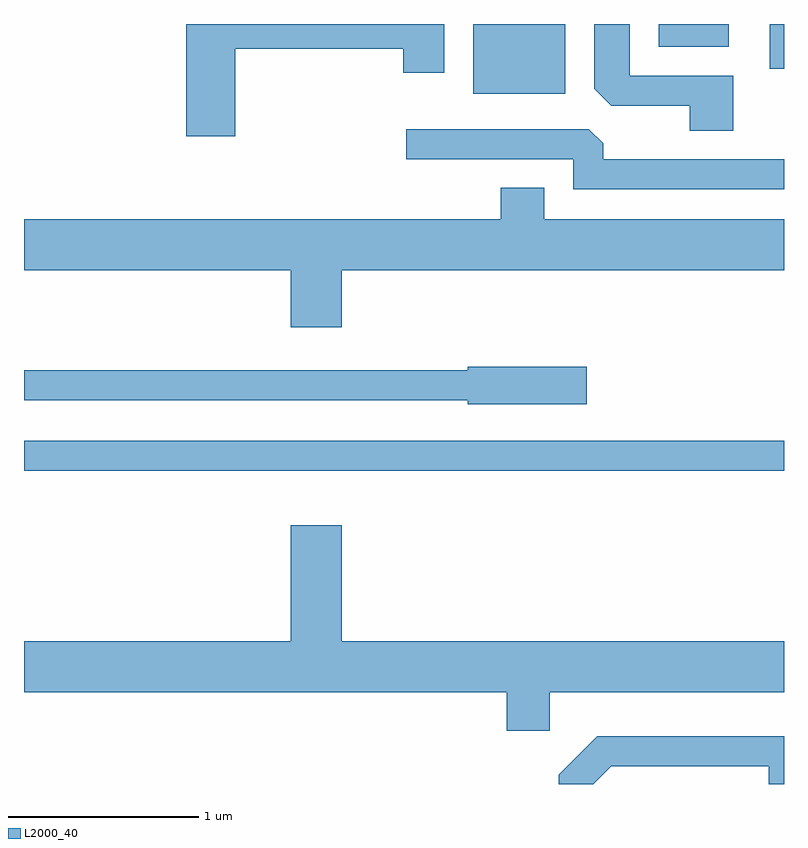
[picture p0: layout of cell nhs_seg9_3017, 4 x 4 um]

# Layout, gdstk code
import gdstk
lib = gdstk.Library(unit=1e-6, precision=1e-09)
def R(c, l, rs):  # rectangles x0, y0, x1, y1
    for r in rs: c.add(gdstk.rectangle(r[:2], r[2:], *l))
def P(c, l, *ps):  # polygons
    for p in ps: c.add(gdstk.Polygon(p, *l))
L2000_40 = (2000, 40)

nhs_seg9_3017 = lib.new_cell('nhs_seg9_3017')
R(nhs_seg9_3017, L2000_40, [(273.611,2004.081,277.611,2004.239), (275.976,2006.066,276.459,2006.432), (277.536,2006.196,277.611,2006.432), (276.951,2006.311,277.319,2006.432)])
P(nhs_seg9_3017, L2000_40, [(277.344,2006.159),(276.799,2006.159),(276.799,2006.432),(276.611,2006.432),(276.611,2006.092),(276.702,2006.001),(277.116,2006.001),(277.116,2005.871),(277.344,2005.871)],
  [(274.724,2006.301),(275.606,2006.301),(275.606,2006.176),(275.824,2006.176),(275.824,2006.432),(274.466,2006.432),(274.466,2005.841),(274.724,2005.841)],
  [(277.611,2005.719),(276.659,2005.719),(276.659,2005.804),(276.584,2005.879),(275.623,2005.879),(275.623,2005.721),(276.501,2005.721),(276.501,2005.561),(277.611,2005.561)],
  [(275.284,2005.136),(277.611,2005.136),(277.611,2005.404),(276.349,2005.404),(276.349,2005.569),(276.121,2005.569),(276.121,2005.404),(273.611,2005.404),(273.611,2005.136),(275.016,2005.136),(275.016,2004.836),(275.284,2004.836)],
  [(276.574,2004.629),(275.946,2004.629),(275.946,2004.609),(273.611,2004.609),(273.611,2004.451),(275.946,2004.451),(275.946,2004.431),(276.574,2004.431)],
  [(276.379,2002.916),(277.611,2002.916),(277.611,2003.184),(275.284,2003.184),(275.284,2003.794),(275.016,2003.794),(275.016,2003.184),(273.611,2003.184),(273.611,2002.916),(276.151,2002.916),(276.151,2002.711),(276.379,2002.711)],
  [(276.702,2002.526),(277.531,2002.526),(277.531,2002.432),(277.611,2002.432),(277.611,2002.684),(276.629,2002.684),(276.426,2002.482),(276.426,2002.432),(276.607,2002.432)])

lib.write_gds('nhs_seg9_3017.gds')
